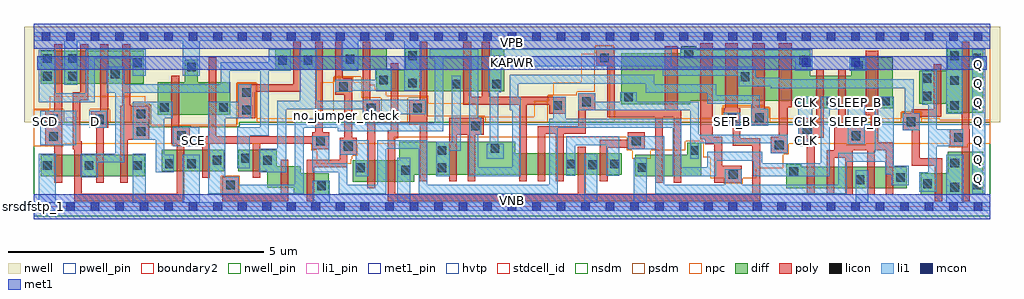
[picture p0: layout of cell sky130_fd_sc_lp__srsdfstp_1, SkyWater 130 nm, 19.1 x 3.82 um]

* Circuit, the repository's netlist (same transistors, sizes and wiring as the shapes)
* Copyright 2020 The SkyWater PDK Authors
*
* Licensed under the Apache License, Version 2.0 (the "License");
* you may not use this file except in compliance with the License.
* You may obtain a copy of the License at
*
*     https://www.apache.org/licenses/LICENSE-2.0
*
* Unless required by applicable law or agreed to in writing, software
* distributed under the License is distributed on an "AS IS" BASIS,
* WITHOUT WARRANTIES OR CONDITIONS OF ANY KIND, either express or implied.
* See the License for the specific language governing permissions and
* limitations under the License.
*
* SPDX-License-Identifier: Apache-2.0

.SUBCKT sky130_fd_sc_lp__srsdfstp_1 CLK D SCD SCE SET_B SLEEP_B KAPWR VGND VNB VPB VPWR Q
*.PININFO CLK:I D:I SCD:I SCE:I SET_B:I SLEEP_B:I KAPWR:I VGND:I VNB:I
*.PININFO VPB:I VPWR:I Q:O
MI658 M1 M0 VPWR VPB sky130_fd_pr__pfet_01v8_hvt m=1 w=0.42U l=0.15U mult=1 sa=0.265
+ sb=0.265 sd=0.28 area=0.063 perim=1.14
MI684 net160 sleep KAPWR VPB sky130_fd_pr__pfet_01v8_hvt m=1 w=1.0U l=0.25U mult=1
+ sa=0.265 sb=0.265 sd=0.28 area=0.063 perim=1.14
MI663 net204 S0 VPWR VPB sky130_fd_pr__pfet_01v8_hvt m=1 w=0.64U l=0.15U mult=1
+ sa=0.265 sb=0.265 sd=0.28 area=0.063 perim=1.14
MI660 Q net204 VPWR VPB sky130_fd_pr__pfet_01v8_hvt m=1 w=1.26U l=0.15U mult=1
+ sa=0.265 sb=0.265 sd=0.28 area=0.063 perim=1.14
MI659 M1 SET_B VPWR VPB sky130_fd_pr__pfet_01v8_hvt m=1 w=0.42U l=0.15U mult=1
+ sa=0.265 sb=0.265 sd=0.28 area=0.063 perim=1.14
MI662 net144 M1 VPWR VPB sky130_fd_pr__pfet_01v8_hvt m=1 w=0.42U l=0.15U mult=1
+ sa=0.265 sb=0.265 sd=0.28 area=0.063 perim=1.14
MI664 M0 clkneg net144 VPB sky130_fd_pr__pfet_01v8_hvt m=1 w=0.42U l=0.15U mult=1
+ sa=0.265 sb=0.265 sd=0.28 area=0.063 perim=1.14
MI6 net131 S1 KAPWR VPB sky130_fd_pr__pfet_01v8_hvt m=1 w=1.0U l=0.25U mult=1 sa=0.265
+ sb=0.265 sd=0.28 area=0.063 perim=1.14
MI669 S0 clkpos net131 VPB sky130_fd_pr__pfet_01v8_hvt m=1 w=1.0U l=0.25U mult=1
+ sa=0.265 sb=0.265 sd=0.28 area=0.063 perim=1.14
MI674 clkneg SLEEP_B KAPWR VPB sky130_fd_pr__pfet_01v8_hvt m=1 w=0.64U l=0.15U mult=1
+ sa=0.265 sb=0.265 sd=0.28 area=0.063 perim=1.14
MI648 S1 S0 KAPWR VPB sky130_fd_pr__pfet_01v8_hvt m=1 w=1.0U l=0.25U mult=1 sa=0.265
+ sb=0.265 sd=0.28 area=0.063 perim=1.14
MI37 net228 M0 VPWR VPB sky130_fd_pr__pfet_01v8_hvt m=1 w=0.84U l=0.15U mult=1
+ sa=0.265 sb=0.265 sd=0.28 area=0.063 perim=1.14
MI43 db clkpos M0 VPB sky130_fd_pr__pfet_01v8_hvt m=1 w=0.42U l=0.15U mult=1 sa=0.265
+ sb=0.265 sd=0.28 area=0.063 perim=1.14
MI681 sleep SLEEP_B KAPWR VPB sky130_fd_pr__pfet_01v8_hvt m=1 w=1.0U l=0.25U mult=1
+ sa=0.265 sb=0.265 sd=0.28 area=0.063 perim=1.14
MI643 clkneg CLK KAPWR VPB sky130_fd_pr__pfet_01v8_hvt m=1 w=0.64U l=0.15U mult=1
+ sa=0.265 sb=0.265 sd=0.28 area=0.063 perim=1.14
MI635 clkpos clkneg VPWR VPB sky130_fd_pr__pfet_01v8_hvt m=1 w=0.64U l=0.15U mult=1
+ sa=0.265 sb=0.265 sd=0.28 area=0.063 perim=1.14
MI633 sceb SCE VPWR VPB sky130_fd_pr__pfet_01v8_hvt m=1 w=0.64U l=0.15U mult=1
+ sa=0.265 sb=0.265 sd=0.28 area=0.063 perim=1.14
MI685 S0 SET_B net160 VPB sky130_fd_pr__pfet_01v8_hvt m=1 w=1.0U l=0.25U mult=1
+ sa=0.265 sb=0.265 sd=0.28 area=0.063 perim=1.14
MI687 net87 clkneg S0 VPB sky130_fd_pr__pfet_01v8_hvt m=1 w=0.84U l=0.15U mult=1
+ sa=0.265 sb=0.265 sd=0.28 area=0.063 perim=1.14
MI686 net228 clkneg net87 VPB sky130_fd_pr__pfet_01v8_hvt m=1 w=0.84U l=0.15U mult=1
+ sa=0.265 sb=0.265 sd=0.28 area=0.063 perim=1.14
MI101 db sceb p1 VPB sky130_fd_pr__pfet_01v8_hvt m=1 w=0.64U l=0.15U mult=1 sa=0.265
+ sb=0.265 sd=0.28 area=0.063 perim=1.14
MI107 p0 SCE VPWR VPB sky130_fd_pr__pfet_01v8_hvt m=1 w=0.64U l=0.15U mult=1 sa=0.265
+ sb=0.265 sd=0.28 area=0.063 perim=1.14
MI94 db D p0 VPB sky130_fd_pr__pfet_01v8_hvt m=1 w=0.64U l=0.15U mult=1 sa=0.265
+ sb=0.265 sd=0.28 area=0.063 perim=1.14
MI108 p1 SCD VPWR VPB sky130_fd_pr__pfet_01v8_hvt m=1 w=0.64U l=0.15U mult=1 sa=0.265
+ sb=0.265 sd=0.28 area=0.063 perim=1.14
MI680 net243 SLEEP_B VGND VNB sky130_fd_pr__nfet_01v8 m=1 w=0.42U l=0.15U mult=1
+ sa=0.265 sb=0.265 sd=0.28 area=0.063 perim=1.14
MI670 net191 SLEEP_B net200 VNB sky130_fd_pr__nfet_01v8 m=1 w=0.42U l=0.15U mult=1
+ sa=0.265 sb=0.265 sd=0.28 area=0.063 perim=1.14
MI27 net268 S1 net240 VNB sky130_fd_pr__nfet_01v8 m=1 w=0.42U l=0.15U mult=1 sa=0.265
+ sb=0.265 sd=0.28 area=0.063 perim=1.14
MI647 S1 S0 net260 VNB sky130_fd_pr__nfet_01v8 m=1 w=0.42U l=0.15U mult=1 sa=0.265
+ sb=0.265 sd=0.28 area=0.063 perim=1.14
MI678 net260 S0 VGND VNB sky130_fd_pr__nfet_01v8 m=1 w=0.42U l=0.15U mult=1 sa=0.265
+ sb=0.265 sd=0.28 area=0.063 perim=1.14
MI655 M0 clkpos net255 VNB sky130_fd_pr__nfet_01v8 m=1 w=0.42U l=0.15U mult=1 sa=0.265
+ sb=0.265 sd=0.28 area=0.063 perim=1.14
MI683 net248 sleep VGND VNB sky130_fd_pr__nfet_01v8 m=1 w=0.42U l=0.15U mult=1
+ sa=0.265 sb=0.265 sd=0.28 area=0.063 perim=1.14
MI682 net248 SET_B VGND VNB sky130_fd_pr__nfet_01v8 m=1 w=0.42U l=0.15U mult=1
+ sa=0.265 sb=0.265 sd=0.28 area=0.063 perim=1.14
MI679 sleep SLEEP_B net243 VNB sky130_fd_pr__nfet_01v8 m=1 w=0.42U l=0.15U mult=1
+ sa=0.265 sb=0.265 sd=0.28 area=0.063 perim=1.14
MI677 net240 S1 net248 VNB sky130_fd_pr__nfet_01v8 m=1 w=0.42U l=0.15U mult=1 sa=0.265
+ sb=0.265 sd=0.28 area=0.063 perim=1.14
MI656 M1 M0 net208 VNB sky130_fd_pr__nfet_01v8 m=1 w=0.42U l=0.15U mult=1 sa=0.265
+ sb=0.265 sd=0.28 area=0.063 perim=1.14
MI654 net255 M1 VGND VNB sky130_fd_pr__nfet_01v8 m=1 w=0.42U l=0.15U mult=1 sa=0.265
+ sb=0.265 sd=0.28 area=0.063 perim=1.14
MI36 net228 M0 VGND VNB sky130_fd_pr__nfet_01v8 m=1 w=0.64U l=0.15U mult=1 sa=0.265
+ sb=0.265 sd=0.28 area=0.063 perim=1.14
MI26 S0 clkneg net268 VNB sky130_fd_pr__nfet_01v8 m=1 w=0.42U l=0.15U mult=1 sa=0.265
+ sb=0.265 sd=0.28 area=0.063 perim=1.14
MI42 db clkneg M0 VNB sky130_fd_pr__nfet_01v8 m=1 w=0.42U l=0.15U mult=1 sa=0.265
+ sb=0.265 sd=0.28 area=0.063 perim=1.14
MI636 clkpos clkneg VGND VNB sky130_fd_pr__nfet_01v8 m=1 w=0.42U l=0.15U mult=1
+ sa=0.265 sb=0.265 sd=0.28 area=0.063 perim=1.14
MI634 sceb SCE VGND VNB sky130_fd_pr__nfet_01v8 m=1 w=0.42U l=0.15U mult=1 sa=0.265
+ sb=0.265 sd=0.28 area=0.063 perim=1.14
MI657 net208 SET_B VGND VNB sky130_fd_pr__nfet_01v8 m=1 w=0.42U l=0.15U mult=1
+ sa=0.265 sb=0.265 sd=0.28 area=0.063 perim=1.14
MI652 net204 S0 VGND VNB sky130_fd_pr__nfet_01v8 m=1 w=0.42U l=0.15U mult=1 sa=0.265
+ sb=0.265 sd=0.28 area=0.063 perim=1.14
MI673 net200 SLEEP_B VGND VNB sky130_fd_pr__nfet_01v8 m=1 w=0.42U l=0.15U mult=1
+ sa=0.265 sb=0.265 sd=0.28 area=0.063 perim=1.14
MI653 Q net204 VGND VNB sky130_fd_pr__nfet_01v8 m=1 w=0.84U l=0.15U mult=1 sa=0.265
+ sb=0.265 sd=0.28 area=0.063 perim=1.14
MI642 clkneg CLK net191 VNB sky130_fd_pr__nfet_01v8 m=1 w=0.42U l=0.15U mult=1
+ sa=0.265 sb=0.265 sd=0.28 area=0.063 perim=1.14
MI689 net188 clkpos S0 VNB sky130_fd_pr__nfet_01v8 m=1 w=0.64U l=0.15U mult=1 sa=0.265
+ sb=0.265 sd=0.28 area=0.063 perim=1.14
MI688 net228 clkpos net188 VNB sky130_fd_pr__nfet_01v8 m=1 w=0.64U l=0.15U mult=1
+ sa=0.265 sb=0.265 sd=0.28 area=0.063 perim=1.14
MI98 db D n0 VNB sky130_fd_pr__nfet_01v8 m=1 w=0.42U l=0.15U mult=1 sa=0.265 sb=0.265
+ sd=0.28 area=0.525 perim=3.1
MI103 n1 SCD VGND VNB sky130_fd_pr__nfet_01v8 m=1 w=0.42U l=0.15U mult=1 sa=0.265
+ sb=0.265 sd=0.28 area=0.525 perim=3.1
MI120 db SCE n1 VNB sky130_fd_pr__nfet_01v8 m=1 w=0.42U l=0.15U mult=1 sa=0.265
+ sb=0.265 sd=0.28 area=0.525 perim=3.1
MI104 n0 sceb VGND VNB sky130_fd_pr__nfet_01v8 m=1 w=0.42U l=0.15U mult=1 sa=0.265
+ sb=0.265 sd=0.28 area=0.525 perim=3.1
.ENDS sky130_fd_sc_lp__srsdfstp_1

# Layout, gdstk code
import gdstk
lib = gdstk.Library(unit=1e-6, precision=1e-09)
def R(c, l, rs):  # rectangles x0, y0, x1, y1
    for r in rs: c.add(gdstk.rectangle(r[:2], r[2:], *l))
def A(c, l, x, y, w, h, nx, ny, dx, dy):  # array of equal rectangles
    R(c, l, [(x+i*dx, y+j*dy, x+i*dx+w, y+j*dy+h) for i in range(nx) for j in range(ny)])
def P(c, l, *ps):  # polygons
    for p in ps: c.add(gdstk.Polygon(p, *l))
nwell_pin = (64, 16)
nwell = (64, 20)
diff = (65, 20)
poly = (66, 20)
licon = (66, 44)
li1_pin = (67, 16)
li1 = (67, 20)
mcon = (67, 44)
met1_pin = (68, 16)
met1 = (68, 20)
hvtp = (78, 44)
stdcell_id = (81, 4)
nsdm = (93, 44)
psdm = (94, 20)
npc = (95, 20)
pwell_pin = (122, 16)
boundary2 = (236, 0)

sky130_fd_sc_lp__srsdfst = lib.new_cell('sky130_fd_sc_lp__srsdfstp_1')
R(sky130_fd_sc_lp__srsdfst, nwell_pin, [(0,3.085,18.72,3.33)])
P(sky130_fd_sc_lp__srsdfst, nwell, [(18.91,3.52),(-0.19,3.52),(-0.19,1.655),(2.245,1.655),(2.245,1.565),(4.025,1.565),(4.025,1.655),(18.91,1.655)])
R(sky130_fd_sc_lp__srsdfst, diff, [(0.135,0.595,2.17,1.015), (2.51,0.695,3.73,1.115), (0.135,2.405,2.155,3.045)])
P(sky130_fd_sc_lp__srsdfst, diff, [(3.845,2.435),(3.215,2.435),(3.215,2.875),(2.955,2.875),(2.955,2.435),(2.425,2.435),(2.425,1.795),(3.845,1.795)],
  [(5.775,0.655),(5.23,0.655),(5.23,0.785),(4.755,0.785),(4.755,1.115),(4,1.115),(4,0.695),(4.57,0.695),(4.57,0.365),(5.09,0.365),(5.09,0.235),(5.775,0.235)],
  [(9.205,3.095),(7.27,3.095),(7.27,2.675),(6.91,2.675),(6.91,3.095),(4.725,3.095),(4.725,2.675),(6.7,2.675),(6.7,2.255),(9.205,2.255)],
  [(11.505,1.045),(9.425,1.045),(9.425,1.265),(7.15,1.265),(7.15,0.905),(6.245,0.905),(6.245,0.485),(7.445,0.485),(7.445,0.625),(11.505,0.625)],
  [(13.065,1.245),(12.785,1.245),(12.785,1.015),(11.775,1.015),(11.775,0.595),(13.065,0.595)],
  [(16.815,2.92),(16,2.92),(16,2.56),(15.2,2.56),(15.2,3.07),(12.965,3.07),(12.965,3.135),(12.675,3.135),(12.675,3.005),(11.495,3.005),(11.495,2.005),(12.85,2.005),(12.85,2.07),(14.94,2.07),(14.94,1.92),(16.815,1.92)],
  [(17.09,0.78),(15.02,0.78),(15.02,0.825),(14.73,0.825),(14.73,0.36),(17.09,0.36)],
  [(18.585,3.095),(17.875,3.095),(17.875,2.655),(17.33,2.655),(17.33,2.015),(17.875,2.015),(17.875,1.835),(18.585,1.835)],
  [(18.585,1.075),(17.89,1.075),(17.89,0.655),(17.36,0.655),(17.36,0.235),(18.585,0.235)])
R(sky130_fd_sc_lp__srsdfst, poly, [(13.32,0.465,13.855,0.795), (13.32,0.675,13.47,1.23), (13.14,1.22,13.29,1.53), (13.225,1.22,13.47,1.37), (13.04,1.32,13.29,3.2)])
P(sky130_fd_sc_lp__srsdfst, poly, [(0.555,3.175),(0.405,3.175),(0.405,1.875),(0.225,1.875),(0.225,1.205),(0.405,1.205),(0.405,0.465),(0.555,0.465)],
  [(1.455,3.175),(1.305,3.175),(1.305,1.875),(1.125,1.875),(1.125,1.545),(1.225,1.545),(1.225,0.465),(1.375,0.465),(1.375,1.545),(1.455,1.545)],
  [(2.265,1.975),(1.885,1.975),(1.885,3.175),(1.735,3.175),(1.735,1.975),(1.695,1.975),(1.695,0.465),(1.845,0.465),(1.845,1.305),(2.265,1.305)],
  [(3.055,1.555),(2.845,1.555),(2.845,2.565),(2.695,2.565),(2.695,1.225),(2.795,1.225),(2.795,0.255),(0.945,0.255),(0.945,1.275),(0.915,1.275),(0.915,2.085),(1.065,2.085),(1.065,3.175),(0.915,3.175),(0.915,2.235),(0.765,2.235),(0.765,1.125),(0.795,1.125),(0.795,0.105),(2.945,0.105),(2.945,1.225),(3.055,1.225)],
  [(4.98,0.915),(4.83,0.915),(4.83,0.255),(4.015,0.255),(4.015,0.585),(3.685,0.585),(3.685,0.105),(4.98,0.105)],
  [(5.23,3.225),(5.08,3.225),(5.08,2.395),(4.005,2.395),(4.005,1.725),(4.335,1.725),(4.335,2.245),(5.23,2.245)],
  [(5.78,1.455),(5.66,1.455),(5.66,3.225),(5.51,3.225),(5.51,1.455),(5.45,1.455),(5.45,1.375),(3.575,1.375),(3.575,2.925),(3.425,2.925),(3.425,1.375),(3.295,1.375),(3.295,0.565),(3.445,0.565),(3.445,1.225),(4.285,1.225),(4.285,0.565),(4.435,0.565),(4.435,1.225),(5.45,1.225),(5.45,1.125),(5.78,1.125)],
  [(6.32,1.345),(6.23,1.345),(6.23,2.515),(6.05,2.515),(6.05,3.225),(5.9,3.225),(5.9,2.185),(6.08,2.185),(6.08,1.345),(5.99,1.345),(5.99,0.915),(5.34,0.915),(5.34,0.105),(5.49,0.105),(5.49,0.765),(6.14,0.765),(6.14,1.015),(6.32,1.015)],
  [(6.77,2.095),(6.59,2.095),(6.59,3.225),(6.44,3.225),(6.44,1.765),(6.53,1.765),(6.53,0.355),(6.68,0.355),(6.68,1.765),(6.77,1.765)],
  [(7.705,3.225),(7.555,3.225),(7.555,2.095),(7.345,2.095),(7.345,1.605),(7.555,1.605),(7.555,0.495),(7.705,0.495)],
  [(8.81,1.74),(8.49,1.74),(8.49,0.495),(8.64,0.495),(8.64,1.41),(8.81,1.41)],
  [(10.415,2.145),(8.92,2.145),(8.92,3.225),(8.77,3.225),(8.77,2.145),(8.56,2.145),(8.56,3.225),(8.41,3.225),(8.41,1.995),(9.5,1.995),(9.5,0.495),(9.65,0.495),(9.65,1.995),(10.085,1.995),(10.085,1.815),(10.415,1.815)],
  [(10.985,2.215),(10.655,2.215),(10.655,1.575),(9.86,1.575),(9.86,0.495),(10.01,0.495),(10.01,1.425),(10.22,1.425),(10.22,0.495),(10.37,0.495),(10.37,1.425),(10.805,1.425),(10.805,1.885),(10.985,1.885)],
  [(11.955,1.455),(11.625,1.455),(11.625,1.305),(11.08,1.305),(11.08,0.495),(11.23,0.495),(11.23,1.155),(11.625,1.155),(11.625,1.125),(11.955,1.125)],
  [(12.675,1.895),(12.6,1.895),(12.6,3.135),(12.35,3.135),(12.35,1.895),(11.375,1.895),(11.375,3.075),(11.005,3.075),(11.005,2.745),(11.225,2.745),(11.225,1.745),(12.165,1.745),(12.165,0.465),(12.315,0.465),(12.315,1.745),(12.525,1.745),(12.525,0.465),(12.675,0.465)],
  [(14.215,1.34),(13.83,1.34),(13.83,1.92),(13.78,1.92),(13.78,3.2),(13.53,3.2),(13.53,1.92),(13.5,1.92),(13.5,1.58),(13.68,1.58),(13.68,1.19),(14.065,1.19),(14.065,0.255),(10.8,0.255),(10.8,1.175),(10.65,1.175),(10.65,0.255),(7.075,0.255),(7.075,1.34),(7.135,1.34),(7.135,2.805),(6.985,2.805),(6.985,1.49),(6.925,1.49),(6.925,0.105),(14.215,0.105)],
  [(14.37,1.91),(14.31,1.91),(14.31,3.2),(14.06,3.2),(14.06,1.91),(14.04,1.91),(14.04,1.58),(14.37,1.58)],
  [(14.83,3.2),(14.58,3.2),(14.58,1.37),(14.425,1.37),(14.425,1.04),(14.755,1.04),(14.755,1.94),(14.83,1.94)],
  [(15.46,2.69),(15.31,2.69),(15.31,1.675),(14.965,1.675),(14.965,1.345),(15.13,1.345),(15.13,0.23),(15.28,0.23),(15.28,1.345),(15.46,1.345)],
  [(16.82,1.255),(16.53,1.255),(16.53,3.05),(16.28,3.05),(16.28,1.79),(16.38,1.79),(16.38,1.55),(15.89,1.55),(15.89,2.69),(15.74,2.69),(15.74,1.55),(15.67,1.55),(15.67,1.105),(15.52,1.105),(15.52,0.23),(15.67,0.23),(15.67,0.955),(15.88,0.955),(15.88,0.23),(16.03,0.23),(16.03,1.105),(16.31,1.105),(16.31,0.23),(16.46,0.23),(16.46,1.105),(16.67,1.105),(16.67,0.23),(16.82,0.23)],
  [(17.78,0.945),(17.335,0.945),(17.335,1.755),(17.765,1.755),(17.765,2.785),(17.615,2.785),(17.615,1.905),(17.185,1.905),(17.185,1.825),(17.005,1.825),(17.005,1.495),(17.185,1.495),(17.185,0.795),(17.63,0.795),(17.63,0.105),(17.78,0.105)],
  [(18.315,1.515),(18.31,1.515),(18.31,3.225),(18.16,3.225),(18.16,1.515),(17.93,1.515),(17.93,1.185),(18.165,1.185),(18.165,0.105),(18.315,0.105)],
  [(8.49,1.74),(8.13,1.74),(8.13,0.495),(8.28,0.495),(8.28,1.41),(8.49,1.41)])
A(sky130_fd_sc_lp__srsdfst, licon, 17.935, 1.895, 0.17, 0.17, 1, 3, 0, 0.485)
A(sky130_fd_sc_lp__srsdfst, licon, 18.365, 1.895, 0.17, 0.17, 1, 3, 0, 0.465)
R(sky130_fd_sc_lp__srsdfst, licon, [(17.94,0.295,18.11,0.465), (5.545,0.315,5.715,0.485), (3.765,0.335,3.935,0.505), (18.37,0.335,18.54,0.505), (17.405,0.36,17.575,0.53), (16.085,0.44,16.255,0.61), (16.875,0.485,17.045,0.655), (13.605,0.545,13.775,0.715), (14.79,0.595,14.96,0.765), (7.195,0.625,7.365,0.795), (6.305,0.675,6.475,0.845), (7.905,0.675,8.075,0.845), (11.825,0.68,11.995,0.85), (0.18,0.72,0.35,0.89), (1,0.72,1.17,0.89), (1.94,0.72,2.11,0.89), (10.855,0.735,11.025,0.905), (10.425,0.75,10.595,0.92), (11.285,0.75,11.455,0.92), (2.57,0.755,2.74,0.925), (3,0.755,3.17,0.925), (17.94,0.765,18.11,0.935), (3.5,0.82,3.67,0.99), (4.49,0.82,4.66,0.99), (18.37,0.845,18.54,1.015), (4.06,0.86,4.23,1.03), (7.905,1.015,8.075,1.185), (12.845,1.015,13.015,1.185), (8.945,1.055,9.115,1.225), (6.07,1.095,6.24,1.265), (14.505,1.12,14.675,1.29), (5.53,1.205,5.7,1.375), (11.705,1.205,11.875,1.375), (18.01,1.265,18.18,1.435), (0.305,1.285,0.475,1.455), (16.01,1.3,16.18,1.47), (2.805,1.305,2.975,1.475), (2.015,1.385,2.185,1.555), (15.045,1.425,15.215,1.595), (8.56,1.49,8.73,1.66), (17.085,1.575,17.255,1.745), (0.305,1.625,0.475,1.795), (1.205,1.625,1.375,1.795), (13.58,1.66,13.75,1.83), (14.12,1.66,14.29,1.83), (2.015,1.725,2.185,1.895), (4.085,1.805,4.255,1.975), (6.52,1.845,6.69,2.015), (7.425,1.845,7.595,2.015), (2.47,1.855,2.64,2.025), (3.63,1.855,3.8,2.025), (10.165,1.895,10.335,2.065), (10.735,1.965,10.905,2.135), (15.515,1.98,15.685,2.15), (16.585,1.98,16.755,2.15), (11.555,2.065,11.725,2.235), (17.39,2.075,17.56,2.245), (4.085,2.145,4.255,2.315), (5.98,2.265,6.15,2.435), (8.185,2.315,8.355,2.485), (8.975,2.315,9.145,2.485), (7.33,2.335,7.5,2.505), (6.76,2.395,6.93,2.565), (17.39,2.425,17.56,2.595), (13.835,2.455,14.005,2.625), (0.18,2.465,0.35,2.635), (0.68,2.465,0.85,2.635), (1.51,2.515,1.68,2.685), (3,2.645,3.17,2.815), (16.055,2.675,16.225,2.845), (1.94,2.73,2.11,2.9), (4.785,2.78,4.955,2.95), (5.285,2.78,5.455,2.95), (8.975,2.78,9.145,2.95), (14.985,2.78,15.155,2.95), (6.105,2.8,6.275,2.97), (0.18,2.815,0.35,2.985), (0.68,2.815,0.85,2.985), (11.085,2.825,11.255,2.995), (7.33,2.865,7.5,3.035), (12.735,2.905,12.905,3.075)])
A(sky130_fd_sc_lp__srsdfst, li1_pin, 18.395, 0.47, 0.17, 0.17, 1, 7, 0, 0.37)
A(sky130_fd_sc_lp__srsdfst, li1_pin, 15.035, 1.21, 0.17, 0.17, 1, 3, 0, 0.37)
A(sky130_fd_sc_lp__srsdfst, li1_pin, 0.155, 1.58, 0.17, 0.17, 3, 1, 0.48, 0)
R(sky130_fd_sc_lp__srsdfst, li1_pin, [(3.035,1.21,3.205,1.38), (13.595,1.58,13.765,1.75), (15.995,1.58,16.165,1.75), (15.995,1.95,16.165,2.12)])
R(sky130_fd_sc_lp__srsdfst, li1, [(18.365,0.255,18.62,3.075), (7.875,0.595,8.145,1.265), (8.525,0.595,9.51,0.765), (8.525,0.595,8.695,1.415), (9.365,0.595,9.535,2.135), (8.145,1.095,8.185,1.265), (8.185,1.095,8.355,2.275), (2.725,1.18,3.235,1.555), (14.965,1.18,15.235,2.15), (0.125,1.205,0.835,1.875), (15.935,1.22,16.26,2.15), (8.525,1.41,8.755,1.74), (17.005,1.495,17.335,1.825), (1.085,1.545,1.43,1.875), (13.5,1.58,13.83,1.84), (7.845,1.616,8.015,3.075), (8.525,1.685,8.695,3.075), (9.315,1.885,9.485,2.5), (9.03,2.235,9.145,2.745), (8.185,2.27,8.355,2.565), (15.965,2.66,16.305,2.94), (7.755,2.905,8.39,3.075), (8.39,2.905,8.69,3.075)])
P(sky130_fd_sc_lp__srsdfst, li1, [(9.195,1.225),(9.095,1.225),(9.095,2.745),(8.895,2.745),(8.895,2.235),(8.925,2.235),(8.925,1.225),(8.865,1.225),(8.865,0.935),(9.195,0.935)],
  [(2.92,2.565),(2.92,3.245),(0.85,3.245),(0.85,2.385),(0.6,2.385),(0.6,3.245),(0,3.245),(0,3.415),(18.72,3.415),(18.72,3.245),(18.185,3.245),(18.185,1.815),(17.855,1.815),(17.855,3.245),(7.58,3.245),(7.58,2.265),(7.25,2.265),(7.25,3.245),(6.355,3.245),(6.355,2.655),(6.025,2.655),(6.025,3.245),(3.25,3.245),(3.25,2.565)],
  [(5.465,0.085),(5.465,0.505),(5.795,0.505),(5.795,0.085),(7.115,0.085),(7.115,0.96),(7.365,0.96),(7.365,0.085),(10.775,0.085),(10.775,1.035),(11.025,1.035),(11.025,0.085),(11.745,0.085),(11.745,0.955),(11.995,0.955),(11.995,0.085),(16.085,0.085),(16.085,0.71),(16.335,0.71),(16.335,0.085),(17.86,0.085),(17.86,1.015),(18.19,1.015),(18.19,0.085),(18.72,0.085),(18.72,-0.085),(0,-0.085),(0,0.085),(0.1,0.085),(0.1,1.035),(0.43,1.035),(0.43,0.085),(1.94,0.085),(1.94,1.035),(2.19,1.035),(2.19,0.085),(2.92,0.085),(2.92,1.01),(3.25,1.01),(3.25,0.085)],
  [(2.72,2.055),(2.72,1.725),(2.555,1.725),(2.555,1.01),(2.74,1.01),(2.74,0.675),(2.385,0.675),(2.385,1.305),(1.94,1.305),(1.94,2.055)],
  [(14.37,1.91),(14.21,1.91),(14.21,2.18),(13.355,2.18),(13.355,2.395),(12.145,2.395),(12.145,2.575),(9.315,2.575),(9.315,2.405),(11.975,2.405),(11.975,2.225),(13.185,2.225),(13.185,2.01),(14.04,2.01),(14.04,1.58),(14.37,1.58)],
  [(7.675,2.095),(7.675,1.81),(6.44,1.81),(6.44,1.905),(4.94,1.905),(4.94,0.675),(4.41,0.675),(4.41,1.135),(4.77,1.135),(4.77,2.075),(5.205,2.075),(5.205,3.075),(5.535,3.075),(5.535,2.075),(6.44,2.075),(6.44,2.095)],
  [(14.425,1.24),(13.015,1.24),(13.015,0.935),(12.845,0.935),(12.845,1.885),(10.655,1.885),(10.655,2.215),(10.985,2.215),(10.985,2.055),(11.475,2.055),(11.475,2.235),(11.805,2.235),(11.805,2.055),(13.015,2.055),(13.015,1.41),(14.755,1.41),(14.755,1.04),(14.425,1.04)],
  [(17.675,1.515),(18.195,1.515),(18.195,1.185),(17.675,1.185),(17.675,0.295),(17.325,0.295),(17.325,0.675),(17.505,0.675),(17.505,1.995),(17.39,1.995),(17.39,2.675),(17.675,2.675)],
  [(14.905,2.66),(14.905,2.905),(12.655,2.905),(12.655,3.075),(15.235,3.075),(15.235,2.66)],
  [(17.335,1.825),(17.22,1.825),(17.22,2.49),(14.595,2.49),(14.595,2.52),(14.13,2.52),(14.13,2.735),(12.485,2.735),(12.485,3.075),(8.94,3.075),(8.94,2.745),(12.315,2.745),(12.315,2.565),(13.8,2.565),(13.8,2.35),(14.425,2.35),(14.425,2.32),(17.05,2.32),(17.05,1.495),(17.335,1.495)],
  [(13.855,0.425),(15.745,0.425),(15.745,1.05),(16.455,1.05),(16.455,2.15),(16.835,2.15),(16.835,0.8),(17.125,0.8),(17.125,0.42),(16.795,0.42),(16.795,0.63),(16.665,0.63),(16.665,0.88),(15.915,0.88),(15.915,0.255),(12.165,0.255),(12.165,1.125),(11.625,1.125),(11.625,1.375),(12.335,1.375),(12.335,0.425),(13.525,0.425),(13.525,0.73),(13.855,0.73)],
  [(6.68,2.485),(6.68,2.695),(7.01,2.695),(7.01,2.265),(6.23,2.265),(6.23,2.245),(5.9,2.245),(5.9,2.485)],
  [(6.305,0.595),(6.305,1.015),(5.99,1.015),(5.99,1.3),(6.555,1.3),(6.555,0.595)],
  [(15.765,2.15),(15.405,2.15),(15.405,0.845),(14.255,0.845),(14.255,1.07),(13.185,1.07),(13.185,0.765),(12.675,0.765),(12.675,1.715),(10.415,1.715),(10.415,2.145),(10.165,2.145),(10.165,1.715),(10.085,1.715),(10.085,0.425),(7.705,0.425),(7.705,1.3),(6.725,1.3),(6.725,0.425),(6.135,0.425),(6.135,0.845),(5.78,0.845),(5.78,1.375),(5.45,1.375),(5.45,0.675),(5.965,0.675),(5.965,0.255),(6.895,0.255),(6.895,1.13),(7.535,1.13),(7.535,0.255),(10.255,0.255),(10.255,1.545),(12.505,1.545),(12.505,0.595),(13.355,0.595),(13.355,0.9),(14.085,0.9),(14.085,0.595),(15.575,0.595),(15.575,1.9),(15.765,1.9)],
  [(0.43,2.215),(1.02,2.215),(1.02,3.075),(2.19,3.075),(2.19,2.565),(1.94,2.565),(1.94,2.905),(1.19,2.905),(1.19,2.045),(0.1,2.045),(0.1,3.065),(0.43,3.065)],
  [(1.77,2.395),(3.665,2.395),(3.665,2.825),(4.6,2.825),(4.6,3.075),(5.035,3.075),(5.035,2.655),(4.6,2.655),(4.6,1.385),(4.23,1.385),(4.23,0.755),(3.98,0.755),(3.98,1.555),(4.43,1.555),(4.43,2.655),(3.835,2.655),(3.835,2.225),(1.77,2.225),(1.77,0.865),(1.25,0.865),(1.25,0.575),(0.92,0.575),(0.92,1.035),(1.6,1.035),(1.6,2.225),(1.43,2.225),(1.43,2.735),(1.77,2.735)],
  [(11.205,0.605),(11.205,1.205),(10.595,1.205),(10.595,0.605),(10.425,0.605),(10.425,1.375),(11.455,1.375),(11.455,0.605)],
  [(8.015,1.64),(6.12,1.64),(6.12,1.715),(5.11,1.715),(5.11,0.425),(4.015,0.425),(4.015,0.585),(3.75,0.585),(3.75,1.725),(4.26,1.725),(4.26,2.395),(4.005,2.395),(4.005,2.055),(3.42,2.055),(3.42,0.255),(5.28,0.255),(5.28,1.545),(5.95,1.545),(5.95,1.47),(8.015,1.47)])
A(sky130_fd_sc_lp__srsdfst, mcon, 0.155, -0.085, 0.17, 0.17, 39, 2, 0.48, 3.33)
R(sky130_fd_sc_lp__srsdfst, mcon, [(15.035,2.735,15.205,2.905), (15.995,2.735,16.165,2.905)])
R(sky130_fd_sc_lp__srsdfst, met1_pin, [(0,0,18.72,0.085), (0.07,2.675,18.65,2.945), (0,3.085,18.72,3.33)])
R(sky130_fd_sc_lp__srsdfst, met1, [(0,-0.245,18.72,0.245), (0.07,2.675,18.65,2.945), (0,3.085,18.72,3.575)])
P(sky130_fd_sc_lp__srsdfst, hvtp, [(18.72,3.33),(0,3.33),(0,1.6),(2.245,1.6),(2.245,1.56),(4.025,1.56),(4.025,1.6),(18.72,1.6)])
R(sky130_fd_sc_lp__srsdfst, stdcell_id, [(0,0,18.72,3.33)])
P(sky130_fd_sc_lp__srsdfst, nsdm, [(18.72,1.655),(4.025,1.655),(4.025,1.565),(2.245,1.565),(2.245,1.655),(0,1.655),(0,-0.19),(18.72,-0.19)])
P(sky130_fd_sc_lp__srsdfst, psdm, [(18.72,1.655),(17.365,1.655),(17.365,1.855),(16.975,1.855),(16.975,1.655),(15.325,1.655),(15.325,1.705),(14.935,1.705),(14.935,1.655),(14.4,1.655),(14.4,1.94),(13.47,1.94),(13.47,1.655),(11.365,1.655),(11.365,3.14),(10.975,3.14),(10.975,2.245),(10.625,2.245),(10.625,2.175),(10.055,2.175),(10.055,1.655),(8.84,1.655),(8.84,1.77),(7.705,1.77),(7.705,2.125),(7.315,2.125),(7.315,1.655),(6.8,1.655),(6.8,2.125),(6.41,2.125),(6.41,2.545),(5.87,2.545),(5.87,1.655),(4.365,1.655),(4.365,2.425),(3.975,2.425),(3.975,1.565),(3.085,1.565),(3.085,1.585),(2.695,1.585),(2.695,1.565),(2.295,1.565),(2.295,2.005),(1.905,2.005),(1.905,1.655),(1.485,1.655),(1.485,1.905),(1.095,1.905),(1.095,1.655),(0.585,1.655),(0.585,1.905),(0,1.905),(0,3.52),(18.72,3.52)])
R(sky130_fd_sc_lp__srsdfst, npc, [(3.665,0.225,4.035,0.605)])
P(sky130_fd_sc_lp__srsdfst, npc, [(18.72,1.695),(17.735,1.695),(17.735,1.73),(17.355,1.73),(17.355,1.845),(16.985,1.845),(16.985,1.73),(14.39,1.73),(14.39,1.93),(14.285,1.93),(14.285,1.98),(13.48,1.98),(13.48,1.73),(11.27,1.73),(11.27,2.725),(11.355,2.725),(11.355,3.155),(10.985,3.155),(10.985,2.99),(10.72,2.99),(10.72,2.43),(10.17,2.43),(10.17,2.165),(10.065,2.165),(10.065,2.06),(9.8,2.06),(9.8,1.76),(8.67,1.76),(8.67,2.025),(7.725,2.025),(7.725,2.165),(6.895,2.165),(6.895,2.275),(6.685,2.275),(6.685,2.305),(6.67,2.305),(6.67,2.38),(6.515,2.38),(6.515,2.43),(6.25,2.43),(6.25,2.535),(5.88,2.535),(5.88,2.43),(5.615,2.43),(5.615,1.73),(4.355,1.73),(4.355,2.415),(3.985,2.415),(3.985,1.605),(2.285,1.605),(2.285,1.995),(2.18,1.995),(2.18,2.16),(0.31,2.16),(0.31,1.895),(0,1.895),(0,1.185),(0.575,1.185),(0.575,1.23),(2.705,1.23),(2.705,1.205),(3.075,1.205),(3.075,1.23),(5.43,1.23),(5.43,1.105),(5.535,1.105),(5.535,0.84),(6.215,0.84),(6.215,0.935),(6.235,0.935),(6.235,0.995),(6.34,0.995),(6.34,1.23),(7.06,1.23),(7.06,1.355),(11.605,1.355),(11.605,1.105),(11.71,1.105),(11.71,0.94),(12.075,0.94),(12.075,1.105),(12.755,1.105),(12.755,1.275),(13.105,1.275),(13.105,0.965),(13.24,0.965),(13.24,0.55),(13.505,0.55),(13.505,0.445),(13.875,0.445),(13.875,0.55),(14.14,0.55),(14.14,0.755),(14.67,0.755),(14.67,1.02),(14.775,1.02),(14.775,1.23),(15.91,1.23),(15.91,1.2),(16.28,1.2),(16.28,1.23),(17.91,1.23),(17.91,1.165),(18.28,1.165),(18.28,1.23),(18.72,1.23)])
R(sky130_fd_sc_lp__srsdfst, pwell_pin, [(0,0,18.72,0.245)])
R(sky130_fd_sc_lp__srsdfst, boundary2, [(0,0,18.72,3.33)])
sky130_fd_sc_lp__srsdfst.add(gdstk.Label('VNB', (9.36,0.123), layer=64, texttype=59))
sky130_fd_sc_lp__srsdfst.add(gdstk.Label('VPB', (9.36,3.208), layer=64, texttype=5))
sky130_fd_sc_lp__srsdfst.add(gdstk.Label('srsdfstp_1', (0,0), layer=83, texttype=44))
sky130_fd_sc_lp__srsdfst.add(gdstk.Label('no_jumper_check', (6.13,1.79), layer=83, texttype=44))
sky130_fd_sc_lp__srsdfst.add(gdstk.Label('Q', (18.48,1.295), layer=67, texttype=5))
sky130_fd_sc_lp__srsdfst.add(gdstk.Label('Q', (18.48,2.775), layer=67, texttype=5))
sky130_fd_sc_lp__srsdfst.add(gdstk.Label('Q', (18.48,2.405), layer=67, texttype=5))
sky130_fd_sc_lp__srsdfst.add(gdstk.Label('Q', (18.48,2.035), layer=67, texttype=5))
sky130_fd_sc_lp__srsdfst.add(gdstk.Label('Q', (18.48,1.665), layer=67, texttype=5))
sky130_fd_sc_lp__srsdfst.add(gdstk.Label('Q', (18.48,0.555), layer=67, texttype=5))
sky130_fd_sc_lp__srsdfst.add(gdstk.Label('Q', (18.48,0.925), layer=67, texttype=5))
sky130_fd_sc_lp__srsdfst.add(gdstk.Label('SET_B', (13.68,1.665), layer=67, texttype=5))
sky130_fd_sc_lp__srsdfst.add(gdstk.Label('CLK', (15.12,1.295), layer=67, texttype=5))
sky130_fd_sc_lp__srsdfst.add(gdstk.Label('CLK', (15.12,1.665), layer=67, texttype=5))
sky130_fd_sc_lp__srsdfst.add(gdstk.Label('CLK', (15.12,2.035), layer=67, texttype=5))
sky130_fd_sc_lp__srsdfst.add(gdstk.Label('SLEEP_B', (16.08,1.665), layer=67, texttype=5))
sky130_fd_sc_lp__srsdfst.add(gdstk.Label('SLEEP_B', (16.08,2.035), layer=67, texttype=5))
sky130_fd_sc_lp__srsdfst.add(gdstk.Label('SCD', (0.24,1.665), layer=67, texttype=5))
sky130_fd_sc_lp__srsdfst.add(gdstk.Label('SCD', (0.72,1.665), layer=67, texttype=5))
sky130_fd_sc_lp__srsdfst.add(gdstk.Label('SCE', (3.12,1.295), layer=67, texttype=5))
sky130_fd_sc_lp__srsdfst.add(gdstk.Label('D', (1.2,1.665), layer=67, texttype=5))
sky130_fd_sc_lp__srsdfst.add(gdstk.Label('KAPWR', (9.36,2.81), layer=68, texttype=5))
sky130_fd_sc_lp__srsdfst.add(gdstk.Label('VPWR', (9.36,3.21), layer=68, texttype=5))
sky130_fd_sc_lp__srsdfst.add(gdstk.Label('VGND', (9.36,0.045), layer=68, texttype=5))

lib.write_gds('sky130_fd_sc_lp__srsdfstp_1.gds')
